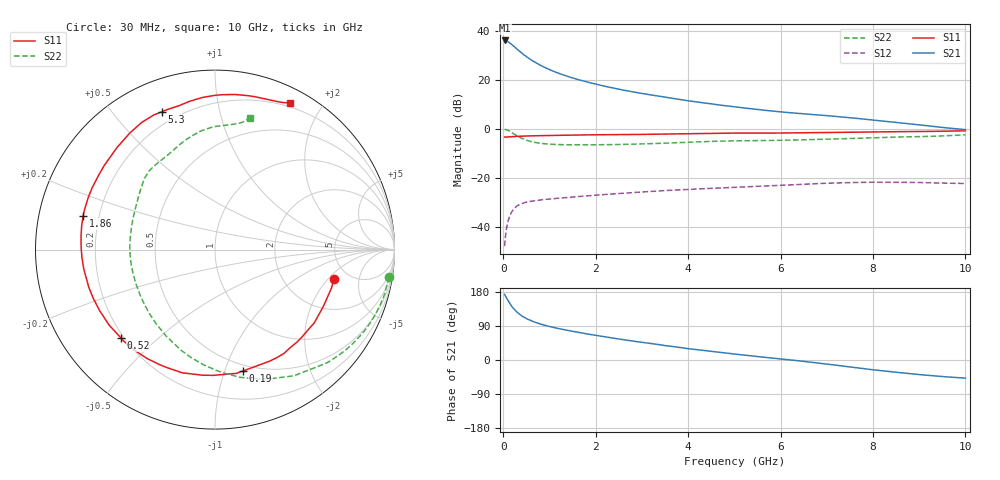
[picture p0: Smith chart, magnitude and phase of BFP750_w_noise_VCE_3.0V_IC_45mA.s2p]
! Infineon Technologies  Discrete & RF Semiconductors
! BFP750
! VCE =  3.0 V,  IC =  45 mA
! Common Emitter S-Parameters:  Jan 2016
# GHz  S  MA  R  50
!  f  S11  S21  S12  S22
! GHz  MAG  ANG  MAG  ANG  MAG  ANG  MAG  ANG
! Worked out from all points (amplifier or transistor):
!   229 points, 30 MHz to 10 GHz, reference 50 ohm
!   highest |S21| = 36.2 dB at 30 MHz (marker M1)
!   |S21| within 3 dB of that: start of sweep to 267.9 MHz
!   unconditionally stable (mu >= 1): 4.124 GHz to end of sweep
!   at 280 MHz: K = 0.16, MSG = 32.4 dB, |S12| = -31.8 dB
!   at 1.78 GHz: K = 0.68, MSG = 23.4 dB, |S12| = -27.4 dB
!   at 10 GHz: K = 1.06, MAG = 9.6 dB, |S12| = -22.3 dB
!   lowest NFmin = 0.99 dB at 450 MHz
!   S11 on the Smith chart (normalised r, x): 30 MHz: 3.78, -2.35; 190 MHz: 0.44, -1.16; 520 MHz: 0.19, -0.38; 1.86 GHz: 0.14, +0.12; 5.3 GHz: 0.14, +0.68; 10 GHz: 0.16, +1.62
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0.03  0.6832 -14.0  64.75 173.1  0.004 83.5  0.9791 -9.0
0.06  0.6816 -27.7  64.02 166.1  0.0078 78.1  0.9704 -18.7
0.105  0.6874 -46.7  60.88 156.4  0.013 69.4  0.9344 -32.6
0.15  0.6922 -63.9  57.03 147.7  0.0175 61.9  0.8873 -45.3
0.19  0.6939 -77.0  52.99 140.9  0.0205 56.1  0.8379 -55.3
0.26  0.7034 -95.7  46.54 131.1  0.0248 48.3  0.7633 -70.9
0.34  0.71 -112.4  39.93 122.1  0.0281 41.6  0.6897 -85.8
0.4  0.7154 -122.2  35.79 116.4  0.0298 37.8  0.6467 -95.3
0.52  0.7191 -136.8  29.37 108.3  0.0321 32.6  0.5826 -110.6
0.6  0.7244 -144.5  26.01 103.6  0.0332 30.2  0.5539 -119.3
0.7  0.7273 -152.1  22.75 99.0  0.0343 28.0  0.528 -128.3
0.9  0.7339 -163.5  18.1 91.6  0.0361 25.3  0.4978 -142.3
1.2  0.7422 -175.9  13.76 82.9  0.0383 23.3  0.4794 -157.5
1.7  0.7551 169.5  9.77 71.3  0.042 21.8  0.4738 -174.6
1.86  0.7579 165.6  8.912 67.9  0.0431 21.4  0.4743 -178.9
2.6  0.7674 149.9  6.233 53.6  0.0484 19.0  0.4834 163.6
3.4  0.7841 135.6  4.62 40.0  0.0543 15.5  0.5073 149.2
5.1  0.8234 113.4  2.77 14.5  0.0647 6.9  0.5732 128.4
5.3  0.8231 111.1  2.633 11.8  0.0659 5.7  0.5753 126.1
6.8  0.8448 96.7  1.938 -7.8  0.0761 -3.9  0.6103 110.2
8.4  0.8773 77.8  1.394 -31.0  0.0813 -18.8  0.6798 92.2
10  0.9173 63.0  0.969 -47.7  0.0765 -30.0  0.7591 75.1
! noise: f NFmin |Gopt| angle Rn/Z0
0.45  0.99  0.17  -167  0.46
0.9  1.01  0.22  -161  0.23
1.5  1.02  0.32  -156  0.09
1.9  1.03  0.33  -150  0.08
2.4  1.05  0.35  -144  0.09
3.5  1.28  0.37  -129  0.09
